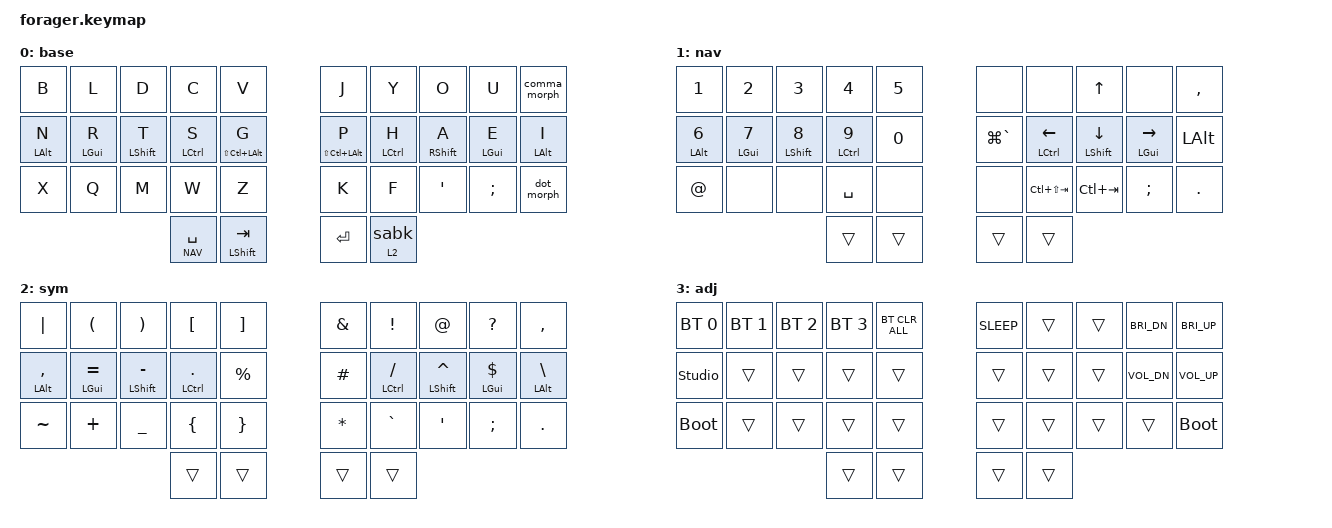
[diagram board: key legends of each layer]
#include <behaviors.dtsi>
#include <dt-bindings/zmk/keys.h>
#include <dt-bindings/zmk/bt.h>
#include <dt-bindings/zmk/outputs.h>

#define BASE 0
#define NAV  1
#define SYM  2
#define ADJ  3

#define AS(keycode) &as LS(keycode) keycode     // Autoshift Macro
#define MEH LS(LC(LALT))

/ {
    behaviors {
        as: auto_shift {
            compatible = "zmk,behavior-hold-tap";
            #binding-cells = <2>;
            tapping-term-ms = <250>;
            require-prior-idle-ms = <100>;
            flavor = "tap-preferred";
            bindings = <&kp>, <&kp>;
        };
        ht: hold_tap {
            compatible = "zmk,behavior-hold-tap";
            #binding-cells = <2>;
            tapping-term-ms = <180>;
            quick-tap-ms = <175>;
            require-prior-idle-ms = <150>;
            flavor = "balanced";
            bindings = <&kp>, <&kp>;
        };
        sabk: shift_to_alt_backspace {
            compatible = "zmk,behavior-mod-morph";
            #binding-cells = <0>;
            bindings = <&kp BSPC>, <&kp LA(BSPC)>;
            mods = <(MOD_LSFT|MOD_RSFT)>;
        };
        smart_shift: smart_shift {
            compatible = "zmk,behavior-mod-morph";
            #binding-cells = <0>;
            bindings = <&sk LSHFT>, <&caps_word>;
            mods = <(MOD_LSFT|MOD_RSFT)>;
        };
        comma_morph: comma_question {
            compatible = "zmk,behavior-mod-morph";
            #binding-cells = <0>;
            bindings = <&kp COMMA>, <&kp QMARK>;   // shift -> ?
            mods = <(MOD_LSFT|MOD_RSFT)>;
        };
        dot_morph: dot_slash {
            compatible = "zmk,behavior-mod-morph";
            #binding-cells = <0>;
            bindings = <&kp DOT>, <&kp FSLH>;      // shift -> / (shift stripped)
            mods = <(MOD_LSFT|MOD_RSFT)>;
        };
        sym_bspc: left_thumb_hold_tap {
            compatible = "zmk,behavior-hold-tap";
            #binding-cells = <2>;
            flavor = "tap-preferred";
            tapping-term-ms = <150>;
            quick-tap-ms = <200>;
            bindings = <&mo>, <&sabk>;
        };
        lhm: left_homerow_mods {
            compatible = "zmk,behavior-hold-tap";
            #binding-cells = <2>;
            flavor = "balanced";
            tapping-term-ms = <180>;
            quick-tap-ms = <175>;
            require-prior-idle-ms = <150>;
            bindings = <&kp>, <&kp>;
            hold-trigger-key-positions = <5 6 7 8 9 15 16 17 18 19 25 26 27 28 29 30 31 32 33>;
            hold-trigger-on-release;
        };
        rhm: right_homerow_mods {
            compatible = "zmk,behavior-hold-tap";
            #binding-cells = <2>;
            flavor = "balanced";
            tapping-term-ms = <180>;
            quick-tap-ms = <175>;
            require-prior-idle-ms = <150>;
            bindings = <&kp>, <&kp>;
            hold-trigger-key-positions = <0 1 2 3 4 10 11 12 13 14 20 21 22 23 24 30 31 32 33>;
            hold-trigger-on-release;
        };
        shft: shifted_tap {                        // Shift+<key> then release Shift atomically
            compatible = "zmk,behavior-macro-one-param";
            #binding-cells = <1>;
            bindings
                = <&macro_press &kp LSHFT>
                , <&macro_param_1to1>, <&macro_tap &kp MACRO_PLACEHOLDER>
                , <&macro_release &kp LSHFT>;
        };
        shm: shifted_homerow_mod {                 // homerow mod whose tap is a clean shifted key
            compatible = "zmk,behavior-hold-tap";
            #binding-cells = <2>;
            flavor = "balanced";
            tapping-term-ms = <180>;
            quick-tap-ms = <175>;
            require-prior-idle-ms = <150>;
            bindings = <&kp>, <&shft>;
        };
    };

    conditional_layers {
        compatible = "zmk,conditional-layers";
        tri_layer {
            if-layers = <1 2>;
            then-layer = <3>;
        };
    };

    combos {
        compatible = "zmk,combos";

        combo_hyper_j {              // B + V
            timeout-ms = <50>;
            key-positions = <0 4>;
            bindings = <&kp LA(LG(LC(LS(J))))>;
            layers = <BASE>;
        };
        combo_osl_sym_l {            // Q + M
            timeout-ms = <50>;
            key-positions = <21 22>;
            bindings = <&sl SYM>;
            layers = <BASE>;
        };
        combo_osl_sym_r {            // ' + ;
            timeout-ms = <50>;
            key-positions = <27 28>;
            bindings = <&sl SYM>;
            layers = <BASE>;
        };
        combo_escape {               // R + T + W
            timeout-ms = <50>;
            key-positions = <11 12 23>;
            bindings = <&kp ESC>;
            layers = <BASE>;
        };
        combo_caps_l {               // M + W
            timeout-ms = <50>;
            key-positions = <22 23>;
            bindings = <&sk LSHFT>;
            layers = <BASE>;
        };
        combo_caps_r {               // F + '
            timeout-ms = <50>;
            key-positions = <26 27>;
            bindings = <&sk LSHFT>;
            layers = <BASE>;
        };
    };

    keymap {
        compatible = "zmk,keymap";

        base {
            bindings = <
            &kp B           &kp L           &kp D           &kp C           &kp V                                           &kp J           &kp Y           &kp O           &kp U           &comma_morph
            &lhm LALT N     &lhm LGUI R     &lhm LSHFT T    &lhm LCTRL S    &lhm MEH G                                      &rhm MEH P      &rhm LCTRL H    &rhm RSHFT A    &rhm LGUI E     &rhm LALT I
            &kp X           &kp Q           &kp M           &kp W           &kp Z                                           &kp K           &kp F           &kp SQT         &kp SEMI        &dot_morph
                                                                            &lt NAV SPACE   &mt LSHFT TAB   &kp ENTER       &sym_bspc 2 0
            >;
        };

        nav {
            bindings = <
            &kp N1          &kp N2          &kp N3          &kp N4          &kp N5                                          &none           &none           &kp UP          &none           &kp COMMA
            &ht LALT N6     &ht LGUI N7     &ht LSHFT N8    &ht LCTRL N9    &kp N0                                          &kp LG(GRAVE)   &ht LCTRL LEFT  &ht LSHFT DOWN  &ht LGUI RIGHT  &kp LALT
            &kp AT          &none           &none           &kp SPACE       &none                                           &none           &kp LC(LS(TAB)) &kp LC(TAB)     &kp SEMI        &kp DOT
                                                                            &trans          &trans          &trans          &trans
            >;
        };

        sym {
            bindings = <
            &kp PIPE        &kp LPAR        &kp RPAR        &kp LBKT        &kp RBKT                                        &kp AMPS        &kp EXCL        &kp AT          &kp QMARK       &kp COMMA
            &shm LALT COMMA     &ht LGUI EQUAL  &ht LSHFT MINUS  &shm LCTRL DOT          &kp PRCNT                          &kp HASH        &ht LCTRL FSLH  &ht LSHFT CARET &ht LGUI DLLR   &ht LALT BSLH
            &kp TILDE       &kp PLUS        &kp UNDER       &kp LBRC        &kp RBRC                                        &kp ASTRK       &kp GRAVE       &kp SQT         &kp SEMI        &kp DOT
                                                                            &trans          &trans          &trans          &trans
            >;
        };

        adj {
            bindings = <
            &bt BT_SEL 0    &bt BT_SEL 1    &bt BT_SEL 2    &bt BT_SEL 3    &bt BT_CLR_ALL                                  &kp C_SLEEP     &trans          &trans          &kp C_BRI_DN    &kp C_BRI_UP
            &studio_unlock  &trans          &trans          &trans          &trans                                          &trans          &trans          &trans          &kp C_VOL_DN    &kp C_VOL_UP
            &bootloader     &trans          &trans          &trans          &trans                                          &trans          &trans          &trans          &trans          &bootloader
                                                                            &trans          &trans          &trans          &trans
            >;
        };
    };
};

&lt {
    // require-prior-idle-ms = <100>;
    tapping-term-ms = <150>;
    quick-tap-ms = <200>;
};

&mt {
    quick-tap-ms = <200>;
};

&sk {
    release-after-ms = <500>;
    quick-release;
};
